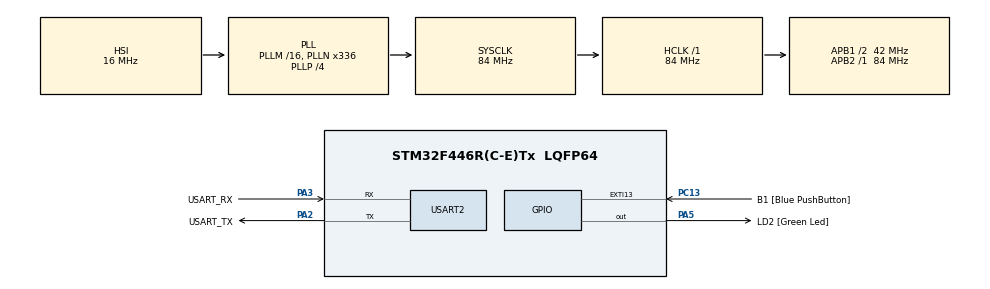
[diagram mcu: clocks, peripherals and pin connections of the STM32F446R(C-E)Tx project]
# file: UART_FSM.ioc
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Mcu.Family=STM32F4
Mcu.Name=STM32F446R(C-E)Tx
Mcu.Package=LQFP64
NVIC.PriorityGroup=NVIC_PRIORITYGROUP_0
NVIC.USART2_IRQn=true\:0\:0\:false\:false\:true\:true\:true\:true
PA13.GPIO_Label=TMS
PA13.Mode=Serial_Wire
PA13.Signal=SYS_JTMS-SWDIO
PA14.GPIO_Label=TCK
PA14.Mode=Serial_Wire
PA14.Signal=SYS_JTCK-SWCLK
PA2.GPIO_Label=USART_TX
PA2.Mode=Asynchronous
PA2.Signal=USART2_TX
PA3.GPIO_Label=USART_RX
PA3.Mode=Asynchronous
PA3.Signal=USART2_RX
PA5.GPIO_Label=LD2 [Green Led]
PA5.Signal=GPIO_Output
PB3.GPIO_Label=SWO
PB3.Signal=SYS_JTDO-SWO
PC13.GPIO_Label=B1 [Blue PushButton]
PC13.GPIO_ModeDefaultEXTI=GPIO_MODE_IT_FALLING
PC13.Signal=GPXTI13
PC14-OSC32_IN.Mode=LSE-External-Oscillator
PC14-OSC32_IN.Signal=RCC_OSC32_IN
PC15-OSC32_OUT.Mode=LSE-External-Oscillator
PC15-OSC32_OUT.Signal=RCC_OSC32_OUT
PH0-OSC_IN.Mode=HSE-External-Oscillator
PH0-OSC_IN.Signal=RCC_OSC_IN
PH1-OSC_OUT.Mode=HSE-External-Oscillator
PH1-OSC_OUT.Signal=RCC_OSC_OUT
ProjectManager.HeapSize=0x200
ProjectManager.StackSize=0x400
ProjectManager.TargetToolchain=STM32CubeIDE
RCC.48MHZClocksFreq_Value=84000000
RCC.AHBFreq_Value=84000000
RCC.APB1CLKDivider=RCC_HCLK_DIV2
RCC.APB1Freq_Value=42000000
RCC.APB1TimFreq_Value=84000000
RCC.APB2Freq_Value=84000000
RCC.APB2TimFreq_Value=84000000
RCC.CortexFreq_Value=84000000
RCC.FLatency-AdvancedSettings=FLASH_LATENCY_2
RCC.HCLKFreq_Value=84000000
RCC.HSE_VALUE=8000000
RCC.HSI_VALUE=16000000
RCC.PLLN=336
RCC.PLLP=RCC_PLLP_DIV4
RCC.SYSCLKFreq_VALUE=84000000
RCC.SYSCLKSource=RCC_SYSCLKSOURCE_PLLCLK
RCC.USBFreq_Value=168000000
RCC.VCOOutputFreq_Value=336000000
USART2.VirtualMode=VM_ASYNC
board=NUCLEO-F446RE

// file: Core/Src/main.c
/* USER CODE BEGIN Header */
/**
  ******************************************************************************
  * @file           : main.c
  * @brief          : Main program body
  ******************************************************************************
  * @attention
  *
  * Copyright (c) 2025 STMicroelectronics.
  * All rights reserved.
  *
  * This software is licensed under terms that can be found in the LICENSE file
  * in the root directory of this software component.
  * If no LICENSE file comes with this software, it is provided AS-IS.
  *
  ******************************************************************************
  */
/* USER CODE END Header */
#include "main.h"
#include <string.h>
#include <stdio.h>

UART_HandleTypeDef huart2;

typedef enum {
  STATE_IDLE,
  STATE_SELECT_PRODUCT,
  STATE_PROCESS_PAYMENT,
  STATE_DISPENSE_PRODUCT
} VendingState;

VendingState currentState = STATE_IDLE;

/* USER CODE BEGIN PV */
void send_uart(const char *msg) {
  HAL_UART_Transmit(&huart2, (uint8_t*)msg, strlen(msg), HAL_MAX_DELAY);
}

/* USER CODE END PV */

void SystemClock_Config(void);
static void MX_GPIO_Init(void);
static void MX_USART2_UART_Init(void);

/* USER CODE BEGIN 0 */
void handle_fsm(char input) {
  switch(currentState) {
    case STATE_IDLE:
      if (input == 's') {
        currentState = STATE_SELECT_PRODUCT;
        send_uart("State: SELECT_PRODUCT\r\n");
      } else {
        send_uart("Idle: Press 's' to select product.\r\n");
      }
      break;

    case STATE_SELECT_PRODUCT:
      if (input == 'p') {
        currentState = STATE_PROCESS_PAYMENT;
        send_uart("State: PROCESS_PAYMENT\r\n");
      } else {
        send_uart("Select: Press 'p' to pay.\r\n");
      }
      break;

    case STATE_PROCESS_PAYMENT:
      if (input == 'd') {
        currentState = STATE_DISPENSE_PRODUCT;
        send_uart("State: DISPENSE_PRODUCT\r\n");
      } else {
        send_uart("Payment: Press 'd' to dispense.\r\n");
      }
      break;

    case STATE_DISPENSE_PRODUCT:
      if (input == 'r') {
        currentState = STATE_IDLE;
        send_uart("State: IDLE (reset done)\r\n");
      } else {
        send_uart("Dispense: Press 'r' to reset.\r\n");
      }
      break;
  }
}
/* USER CODE END 0 */

int main(void)
{

  /* MCU Configuration--------------------------------------------------------*/

  /* Reset of all peripherals, Initializes the Flash interface and the Systick. */
  HAL_Init();

  /* Configure the system clock */
  SystemClock_Config();

  /* Initialize all configured peripherals */
  MX_GPIO_Init();
  MX_USART2_UART_Init();
  /* USER CODE BEGIN 2 */
  send_uart("Vending Machine FSM Started\r\n");

  uint8_t rx_data;

  /* USER CODE END 2 */

  /* Infinite loop */
  while (1)
  {
	    if (HAL_UART_Receive(&huart2, &rx_data, 1, HAL_MAX_DELAY) == HAL_OK) {
	      handle_fsm(rx_data);
	    }

  }
}

void SystemClock_Config(void)
{
  RCC_OscInitTypeDef RCC_OscInitStruct = {0};
  RCC_ClkInitTypeDef RCC_ClkInitStruct = {0};

  /** Configure the main internal regulator output voltage
  */
  __HAL_RCC_PWR_CLK_ENABLE();
  __HAL_PWR_VOLTAGESCALING_CONFIG(PWR_REGULATOR_VOLTAGE_SCALE3);

  /** Initializes the RCC Oscillators according to the specified parameters
  * in the RCC_OscInitTypeDef structure.
  */
  RCC_OscInitStruct.OscillatorType = RCC_OSCILLATORTYPE_HSI;
  RCC_OscInitStruct.HSIState = RCC_HSI_ON;
  RCC_OscInitStruct.HSICalibrationValue = RCC_HSICALIBRATION_DEFAULT;
  RCC_OscInitStruct.PLL.PLLState = RCC_PLL_ON;
  RCC_OscInitStruct.PLL.PLLSource = RCC_PLLSOURCE_HSI;
  RCC_OscInitStruct.PLL.PLLM = 16;
  RCC_OscInitStruct.PLL.PLLN = 336;
  RCC_OscInitStruct.PLL.PLLP = RCC_PLLP_DIV4;
  RCC_OscInitStruct.PLL.PLLQ = 2;
  RCC_OscInitStruct.PLL.PLLR = 2;
  if (HAL_RCC_OscConfig(&RCC_OscInitStruct) != HAL_OK)
  {
    Error_Handler();
  }

  /** Initializes the CPU, AHB and APB buses clocks
  */
  RCC_ClkInitStruct.ClockType = RCC_CLOCKTYPE_HCLK|RCC_CLOCKTYPE_SYSCLK
                              |RCC_CLOCKTYPE_PCLK1|RCC_CLOCKTYPE_PCLK2;
  RCC_ClkInitStruct.SYSCLKSource = RCC_SYSCLKSOURCE_PLLCLK;
  RCC_ClkInitStruct.AHBCLKDivider = RCC_SYSCLK_DIV1;
  RCC_ClkInitStruct.APB1CLKDivider = RCC_HCLK_DIV2;
  RCC_ClkInitStruct.APB2CLKDivider = RCC_HCLK_DIV1;

  if (HAL_RCC_ClockConfig(&RCC_ClkInitStruct, FLASH_LATENCY_2) != HAL_OK)
  {
    Error_Handler();
  }
}

static void MX_USART2_UART_Init(void)
{

  huart2.Instance = USART2;
  huart2.Init.BaudRate = 115200;
  huart2.Init.WordLength = UART_WORDLENGTH_8B;
  huart2.Init.StopBits = UART_STOPBITS_1;
  huart2.Init.Parity = UART_PARITY_NONE;
  huart2.Init.Mode = UART_MODE_TX_RX;
  huart2.Init.HwFlowCtl = UART_HWCONTROL_NONE;
  huart2.Init.OverSampling = UART_OVERSAMPLING_16;
  if (HAL_UART_Init(&huart2) != HAL_OK)
  {
    Error_Handler();
  }

}

static void MX_GPIO_Init(void)
{
  GPIO_InitTypeDef GPIO_InitStruct = {0};

  /* GPIO Ports Clock Enable */
  __HAL_RCC_GPIOC_CLK_ENABLE();
  __HAL_RCC_GPIOH_CLK_ENABLE();
  __HAL_RCC_GPIOA_CLK_ENABLE();
  __HAL_RCC_GPIOB_CLK_ENABLE();

  /*Configure GPIO pin Output Level */
  HAL_GPIO_WritePin(LD2_GPIO_Port, LD2_Pin, GPIO_PIN_RESET);

  /*Configure GPIO pin : B1_Pin */
  GPIO_InitStruct.Pin = B1_Pin;
  GPIO_InitStruct.Mode = GPIO_MODE_IT_FALLING;
  GPIO_InitStruct.Pull = GPIO_NOPULL;
  HAL_GPIO_Init(B1_GPIO_Port, &GPIO_InitStruct);

  /*Configure GPIO pin : LD2_Pin */
  GPIO_InitStruct.Pin = LD2_Pin;
  GPIO_InitStruct.Mode = GPIO_MODE_OUTPUT_PP;
  GPIO_InitStruct.Pull = GPIO_NOPULL;
  GPIO_InitStruct.Speed = GPIO_SPEED_FREQ_LOW;
  HAL_GPIO_Init(LD2_GPIO_Port, &GPIO_InitStruct);

}

void Error_Handler(void)
{
  __disable_irq();
  while (1)
  {
  }
}
